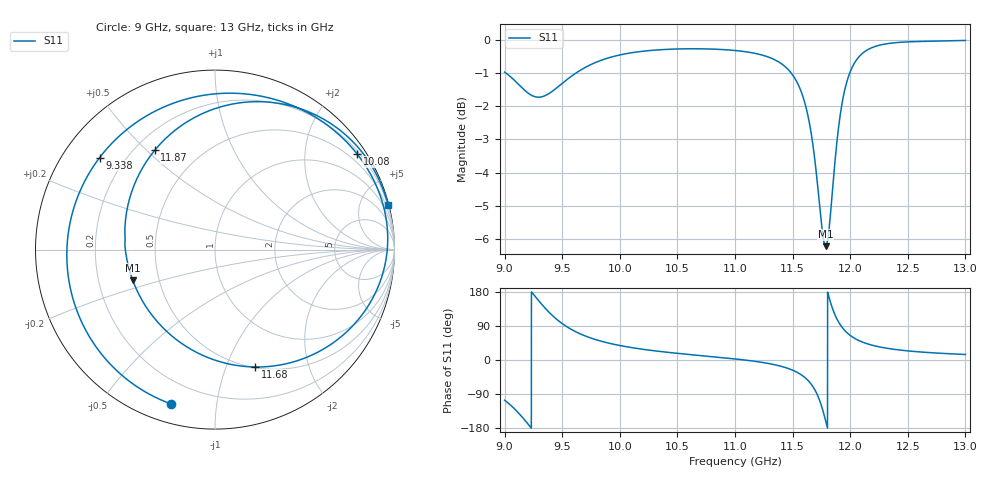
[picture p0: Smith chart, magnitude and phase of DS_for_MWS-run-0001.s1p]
! TOUCHSTONE file generated by CST DESIGN STUDIO
! Date and time: Tue Feb  4 17:57:20 2025
! Project name: C:\Work\MatlabApps\UnitCellOptimizationMatlab\CST\unitcell.cst
! Tree item: Tasks\Sweep1\SPara1\S-Parameters
! Header version: 2024
! Port assignment regex: !\s*Touchstone port\s*([0-9]+)\s*=\s*(CST MWS port|CST DES external port|CST DES block port)\s*(.+)\s* \(\"(.*)\"\)(\s*mode\s*([0-9]+))?.*
! Touchstone port assignment:
! Touchstone port 1 = CST DES external port 1 ("")
# GHz S MA R 50
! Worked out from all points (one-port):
!   4001 points, 9 GHz to 13 GHz, reference 50 ohm
!   lowest |S11| = -6.2 dB at 11.79 GHz (marker M1), VSWR 2.92, Z = 17.6 - j7.91 ohm
!   |S11| at or under -10 dB: nowhere
!   S11 on the Smith chart (normalised r, x): 9 GHz: 0.09, -0.75; 9.338 GHz: 0.11, +0.35; 10.08 GHz: 0.27, +3.25; 11.68 GHz: 0.51, -1.27; 11.87 GHz: 0.28, +0.53; 13 GHz: 0.08, +7.82
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9  0.894 -106.0
9.094  0.866 -131.4
9.193  0.8341 -165.2
9.262  0.8211 168.9
9.338  0.8222 141.5
9.415  0.8368 117.4
9.5  0.8597 96.1
9.607  0.8881 76.1
9.719  0.9122 61.2
9.848  0.9326 48.8
10  0.9487 38.2
10.077  0.9544 34.0
10.5  0.9685 17.6
11  0.9635 2.9
11.319  0.9375 -10.8
11.5  0.8852 -26.9
11.599  0.8116 -44.4
11.678  0.6915 -71.1
11.734  0.5641 -106.1
11.786  0.4892 -159.6
11.823  0.5326 158.2
11.865  0.6476 121.2
11.922  0.7882 89.4
12  0.8949 64.9
12.078  0.9434 50.9
12.178  0.9712 40.1
12.5  0.9926 24.1
13  0.9975 14.6
